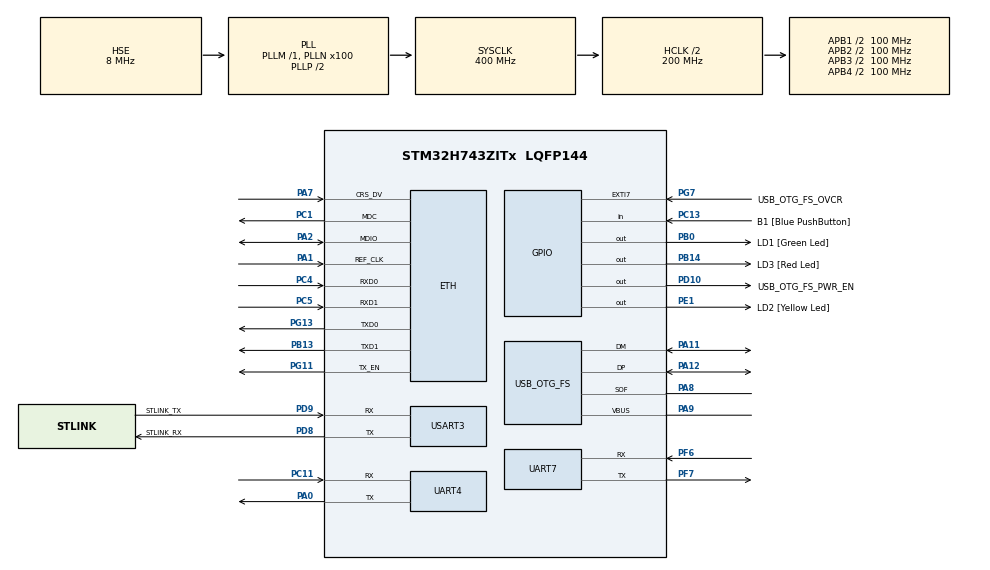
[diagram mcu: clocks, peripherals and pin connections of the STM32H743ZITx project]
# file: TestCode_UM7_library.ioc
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Mcu.Family=STM32H7
USB_DEVICE.CLASS_NAME_FS=CDC
RCC.CortexFreq_Value=400000000
RCC.HPRE=RCC_HCLK_DIV2
PH0-OSC_IN\ (PH0).Signal=RCC_OSC_IN
PB14.GPIO_Label=LD3 [Red Led]
PC15-OSC32_OUT\ (OSC32_OUT).Mode=LSE-External-Oscillator
RCC.PLLFRACN=0
PA11.Mode=Device_Only
PB0.GPIO_Label=LD1 [Green Led]
USB_DEVICE.VirtualMode-CDC_FS=Cdc
VP_SYS_VS_tim16.Mode=TIM16
RCC.PLL2FRACN=0
PC5.Mode=RMII
PC13.GPIO_Label=B1 [Blue PushButton]
PB13.Signal=ETH_TXD1
PG13.Signal=ETH_TXD0
PD9.Mode=Asynchronous
PG11.Signal=ETH_TX_EN
RCC.SYSCLKSource=RCC_SYSCLKSOURCE_PLLCLK
ProjectManager.StackSize=0x400
USART3.VirtualMode-Asynchronous=VM_ASYNC
PA12.Signal=USB_OTG_FS_DP
PF7.Signal=UART7_TX
RCC.HCLKFreq_Value=200000000
PD8.Signal=USART3_TX
PE1.Signal=GPIO_Output
RCC.HSE_VALUE=8000000
RCC.DIVM3=1
RCC.DIVM1=1
PA0.Mode=Asynchronous
PA8.Signal=USB_OTG_FS_SOF
PG13.Mode=RMII
VP_FREERTOS_VS_CMSIS_V1.Mode=CMSIS_V1
PA0.Signal=UART4_TX
RCC.APB3Freq_Value=100000000
Mcu.Package=LQFP144
NVIC.TimeBase=TIM16_IRQn
RCC.PLL3FRACN=0
RCC.D1PPRE=RCC_APB3_DIV2
NVIC.OTG_FS_IRQn=true\:0\:0\:false\:false\:true\:false\:false\:true
NVIC.TimeBaseIP=TIM16
USB_OTG_FS.VirtualMode=Device_Only
PC11.Mode=Asynchronous
PC14-OSC32_IN\ (OSC32_IN).Mode=LSE-External-Oscillator
RCC.APB4Freq_Value=100000000
PC5.Signal=ETH_RXD1
PB13.Mode=RMII
PH0-OSC_IN\ (PH0).Mode=HSE-External-Clock-Source
PC4.Mode=RMII
RCC.DIVQ3=4
RCC.DIVQ2=5
RCC.DIVQ1=4
FREERTOS.Tasks01=defaultTask,0,128,StartDefaultTask,Default,NULL,Dynamic,NULL,NULL
PA7.Mode=RMII
PG7.Signal=GPXTI7
PD9.GPIO_Label=STLINK_TX
USB_DEVICE.VirtualModeFS=Cdc_FS
PC13.Signal=GPIO_Input
PC11.Signal=UART4_RX
FREERTOS.INCLUDE_vTaskDelayUntil=1
PC4.Signal=ETH_RXD0
RCC.D2PPRE2=RCC_APB2_DIV2
RCC.D2PPRE1=RCC_APB1_DIV2
PD9.Signal=USART3_RX
NVIC.TIM16_IRQn=true\:0\:0\:false\:false\:true\:false\:false\:true
PH1-OSC_OUT\ (PH1).Signal=RCC_OSC_OUT
PD8.GPIO_Label=STLINK_RX
PD10.Signal=GPIO_Output
PF7.Mode=Asynchronous
PA9.Mode=Activate_VBUS
PF6.Signal=UART7_RX
ProjectManager.TargetToolchain=SW4STM32
PC15-OSC32_OUT\ (OSC32_OUT).Signal=RCC_OSC32_OUT
VP_USB_DEVICE_VS_USB_DEVICE_CDC_FS.Mode=CDC_FS
PA9.Signal=USB_OTG_FS_VBUS
RCC.DIVN3=24
RCC.DIVN2=50
RCC.DIVN1=100
RCC.USBFreq_Value=48000000
PD10.GPIO_Label=USB_OTG_FS_PWR_EN
PD8.Mode=Asynchronous
PA1.Signal=ETH_REF_CLK
PB14.Signal=GPIO_Output
RCC.USBCLockSelection=RCC_USBCLKSOURCE_PLL3
board=NUCLEO-H743ZI2
PE1.GPIO_Label=LD2 [Yellow Led]
RCC.APB2Freq_Value=100000000
PA1.Mode=RMII
PG7.GPIO_Label=USB_OTG_FS_OVCR
RCC.ADCFreq_Value=6250000
Mcu.Name=STM32H743ZITx
PA2.Signal=ETH_MDIO
RCC.SYSCLKFreq_VALUE=400000000
ETH.MediaInterface=HAL_ETH_RMII_MODE
PA12.Mode=Device_Only
PC14-OSC32_IN\ (OSC32_IN).Signal=RCC_OSC32_IN
PG11.Mode=RMII
PA11.Signal=USB_OTG_FS_DM
ProjectManager.HeapSize=0x200
PF6.Mode=Asynchronous
NVIC.PriorityGroup=NVIC_PRIORITYGROUP_4
PA2.Mode=RMII
RCC.D3PPRE=RCC_APB4_DIV2
PA8.Mode=Activate_SOF_FS
RCC.APB1Freq_Value=100000000
PB0.Signal=GPIO_Output
PC1.Signal=ETH_MDC
PC1.Mode=RMII
PA7.Signal=ETH_CRS_DV

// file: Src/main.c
/* USER CODE BEGIN Header */
/**
  ******************************************************************************
  * @file           : main.c
  * @brief          : Main program body
  ******************************************************************************
  * @attention
  *
  * <h2><center>&copy; Copyright (c) 2020 STMicroelectronics.
  * All rights reserved.</center></h2>
  *
  * This software component is licensed by ST under Ultimate Liberty license
  * SLA0044, the "License"; You may not use this file except in compliance with
  * the License. You may obtain a copy of the License at:
  *                             www.st.com/SLA0044
  *
  ******************************************************************************
  */
/* USER CODE END Header */
#include "main.h"
#include "string.h"
#include "cmsis_os.h"
#include "usb_device.h"

/* USER CODE BEGIN Includes */
#include "MainTask.h"
#include "MemoryManagement.h"
/* USER CODE END Includes */

#if defined ( __ICCARM__ ) /*!< IAR Compiler */

#pragma location=0x30040000
ETH_DMADescTypeDef  DMARxDscrTab[ETH_RX_DESC_CNT]; /* Ethernet Rx DMA Descriptors */
#pragma location=0x30040060
ETH_DMADescTypeDef  DMATxDscrTab[ETH_TX_DESC_CNT]; /* Ethernet Tx DMA Descriptors */
#pragma location=0x30040200
uint8_t Rx_Buff[ETH_RX_DESC_CNT][ETH_MAX_PACKET_SIZE]; /* Ethernet Receive Buffers */

#elif defined ( __CC_ARM )  /* MDK ARM Compiler */

__attribute__((at(0x30040000))) ETH_DMADescTypeDef  DMARxDscrTab[ETH_RX_DESC_CNT]; /* Ethernet Rx DMA Descriptors */
__attribute__((at(0x30040060))) ETH_DMADescTypeDef  DMATxDscrTab[ETH_TX_DESC_CNT]; /* Ethernet Tx DMA Descriptors */
__attribute__((at(0x30040200))) uint8_t Rx_Buff[ETH_RX_DESC_CNT][ETH_MAX_PACKET_SIZE]; /* Ethernet Receive Buffer */

#elif defined ( __GNUC__ ) /* GNU Compiler */

ETH_DMADescTypeDef DMARxDscrTab[ETH_RX_DESC_CNT] __attribute__((section(".RxDecripSection"))); /* Ethernet Rx DMA Descriptors */
ETH_DMADescTypeDef DMATxDscrTab[ETH_TX_DESC_CNT] __attribute__((section(".TxDecripSection")));   /* Ethernet Tx DMA Descriptors */
uint8_t Rx_Buff[ETH_RX_DESC_CNT][ETH_MAX_PACKET_SIZE] __attribute__((section(".RxArraySection"))); /* Ethernet Receive Buffers */

#endif

ETH_TxPacketConfig TxConfig;

ETH_HandleTypeDef heth;

UART_HandleTypeDef huart4;
UART_HandleTypeDef huart7;
UART_HandleTypeDef huart3;

osThreadId defaultTaskHandle;
/* USER CODE BEGIN PV */
TaskHandle_t mainTaskHandle;
osThreadId blink01Handle;
osThreadId blink02Handle;
/* USER CODE END PV */

void SystemClock_Config(void);
static void MX_GPIO_Init(void);
static void MX_ETH_Init(void);
static void MX_USART3_UART_Init(void);
static void MX_UART4_Init(void);
static void MX_UART7_Init(void);
void StartDefaultTask(void const * argument);

/* USER CODE BEGIN PFP */
void StartBlink01(void const * argument);
void StartBlink02(void const * argument);
/* USER CODE END PFP */

int main(void)
{
  /* USER CODE BEGIN 1 */
	/* MCU Configuration--------------------------------------------------------*/
	/* Enable the CPU Cache */
	CPU_CACHE_Enable();
	/* Configure the MPU attributes as Write Through for Flash Bank B sectors 6 and 7  (used for EEPROM emulation)*/
	MPU_Config();
  /* USER CODE END 1 */

  /* MCU Configuration--------------------------------------------------------*/

  /* Reset of all peripherals, Initializes the Flash interface and the Systick. */
  HAL_Init();
  /* Configure the system clock */
  SystemClock_Config();

  /* USER CODE BEGIN SysInit */
	/* ZeroInitFreeRTOSheap(); */
  /* USER CODE END SysInit */

  /* Initialize all configured peripherals */
  MX_GPIO_Init();
  MX_ETH_Init();
   MX_USART3_UART_Init();
  MX_UART4_Init();
  MX_UART7_Init();
  /* USER CODE BEGIN 2 */

  HAL_UART_Transmit(&huart3, (uint8_t*)"Z", sizeof("Z"), 50);
  HAL_UART_Transmit(&huart3, (uint8_t*)"Z", sizeof("Z"), 50);
  HAL_UART_Transmit(&huart3, (uint8_t*)"Z", sizeof("Z"), 50);
  HAL_UART_Transmit(&huart3, (uint8_t*)"Z", 1, 50);
  HAL_UART_Transmit(&huart3, (uint8_t*)"Z", sizeof("Z"), 50);
  HAL_UART_Transmit(&huart3, (uint8_t*)"Z", sizeof("Z"), 50);

  /* USER CODE END 2 */

  /* Create the thread(s) */
  /* definition and creation of defaultTask */
  // osThreadDef(defaultTask, StartDefaultTask, osPriorityNormal, 0, 128);
  // defaultTaskHandle = osThreadCreate(osThread(defaultTask), NULL);

  /* USER CODE BEGIN RTOS_THREADS */
  /* add threads, ... */
	/* definition and creation of blink01 */
//	osThreadDef(blink01, StartBlink01, osPriorityNormal, 0, 128);
//	blink01Handle = osThreadCreate(osThread(blink01), NULL);

	/* definition and creation of blink02 */
//	osThreadDef(blink02, StartBlink02, osPriorityBelowNormal, 0, 128);
//	blink02Handle = osThreadCreate(osThread(blink02), NULL);

  /* Create the main thread which creates objects and spawns the rest of the threads */
	xTaskCreate(MainTask, "mainTask", 1024, (void*) NULL, 0, &mainTaskHandle);
  /* USER CODE END RTOS_THREADS */

  /* Start scheduler */
  osKernelStart();

  /* We should never get here as control is now taken by the scheduler */
  /* Infinite loop */
  while (1)
  {

  }
}
void StartBlink01(void const * argument)
{
  /* USER CODE BEGIN 5 */
  /* Infinite loop */
  for(;;)
  {
  	HAL_GPIO_TogglePin(GPIOB, LD1_Pin);
    osDelay(500);
  }
  /* USER CODE END 5 */
}
void StartBlink02(void const * argument)
{
  /* USER CODE BEGIN StartBlink02 */
  /* Infinite loop */
  for(;;)
  {
  	HAL_GPIO_TogglePin(GPIOB, LD3_Pin);
    osDelay(200);
  }
  /* USER CODE END StartBlink02 */
}
void SystemClock_Config(void)
{
  RCC_OscInitTypeDef RCC_OscInitStruct = {0};
  RCC_ClkInitTypeDef RCC_ClkInitStruct = {0};
  RCC_PeriphCLKInitTypeDef PeriphClkInitStruct = {0};

  /** Supply configuration update enable
  */
  HAL_PWREx_ConfigSupply(PWR_LDO_SUPPLY);
  /** Configure the main internal regulator output voltage
  */
  __HAL_PWR_VOLTAGESCALING_CONFIG(PWR_REGULATOR_VOLTAGE_SCALE1);

  while(!__HAL_PWR_GET_FLAG(PWR_FLAG_VOSRDY)) {}
  /** Macro to configure the PLL clock source
  */
  __HAL_RCC_PLL_PLLSOURCE_CONFIG(RCC_PLLSOURCE_HSE);
  /** Initializes the RCC Oscillators according to the specified parameters
  * in the RCC_OscInitTypeDef structure.
  */
  RCC_OscInitStruct.OscillatorType = RCC_OSCILLATORTYPE_HSE;
  RCC_OscInitStruct.HSEState = RCC_HSE_BYPASS;
  RCC_OscInitStruct.PLL.PLLState = RCC_PLL_ON;
  RCC_OscInitStruct.PLL.PLLSource = RCC_PLLSOURCE_HSE;
  RCC_OscInitStruct.PLL.PLLM = 1;
  RCC_OscInitStruct.PLL.PLLN = 100;
  RCC_OscInitStruct.PLL.PLLP = 2;
  RCC_OscInitStruct.PLL.PLLQ = 4;
  RCC_OscInitStruct.PLL.PLLR = 2;
  RCC_OscInitStruct.PLL.PLLRGE = RCC_PLL1VCIRANGE_3;
  RCC_OscInitStruct.PLL.PLLVCOSEL = RCC_PLL1VCOWIDE;
  RCC_OscInitStruct.PLL.PLLFRACN = 0;
  if (HAL_RCC_OscConfig(&RCC_OscInitStruct) != HAL_OK)
  {
    Error_Handler();
  }
  /** Initializes the CPU, AHB and APB buses clocks
  */
  RCC_ClkInitStruct.ClockType = RCC_CLOCKTYPE_HCLK|RCC_CLOCKTYPE_SYSCLK
                              |RCC_CLOCKTYPE_PCLK1|RCC_CLOCKTYPE_PCLK2
                              |RCC_CLOCKTYPE_D3PCLK1|RCC_CLOCKTYPE_D1PCLK1;
  RCC_ClkInitStruct.SYSCLKSource = RCC_SYSCLKSOURCE_PLLCLK;
  RCC_ClkInitStruct.SYSCLKDivider = RCC_SYSCLK_DIV1;
  RCC_ClkInitStruct.AHBCLKDivider = RCC_HCLK_DIV2;
  RCC_ClkInitStruct.APB3CLKDivider = RCC_APB3_DIV2;
  RCC_ClkInitStruct.APB1CLKDivider = RCC_APB1_DIV2;
  RCC_ClkInitStruct.APB2CLKDivider = RCC_APB2_DIV2;
  RCC_ClkInitStruct.APB4CLKDivider = RCC_APB4_DIV2;

  if (HAL_RCC_ClockConfig(&RCC_ClkInitStruct, FLASH_LATENCY_2) != HAL_OK)
  {
    Error_Handler();
  }
  PeriphClkInitStruct.PeriphClockSelection = RCC_PERIPHCLK_USART3|RCC_PERIPHCLK_UART4
                              |RCC_PERIPHCLK_UART7|RCC_PERIPHCLK_USB;
  PeriphClkInitStruct.PLL3.PLL3M = 1;
  PeriphClkInitStruct.PLL3.PLL3N = 24;
  PeriphClkInitStruct.PLL3.PLL3P = 2;
  PeriphClkInitStruct.PLL3.PLL3Q = 4;
  PeriphClkInitStruct.PLL3.PLL3R = 2;
  PeriphClkInitStruct.PLL3.PLL3RGE = RCC_PLL3VCIRANGE_3;
  PeriphClkInitStruct.PLL3.PLL3VCOSEL = RCC_PLL3VCOWIDE;
  PeriphClkInitStruct.PLL3.PLL3FRACN = 0;
  PeriphClkInitStruct.Usart234578ClockSelection = RCC_USART234578CLKSOURCE_D2PCLK1;
  PeriphClkInitStruct.UsbClockSelection = RCC_USBCLKSOURCE_PLL3;
  if (HAL_RCCEx_PeriphCLKConfig(&PeriphClkInitStruct) != HAL_OK)
  {
    Error_Handler();
  }
  /** Enable USB Voltage detector
  */
  HAL_PWREx_EnableUSBVoltageDetector();
}

static void MX_ETH_Init(void)
{

  heth.Instance = ETH;
  heth.Init.MACAddr[0] =   0x00;
  heth.Init.MACAddr[1] =   0x80;
  heth.Init.MACAddr[2] =   0xE1;
  heth.Init.MACAddr[3] =   0x00;
  heth.Init.MACAddr[4] =   0x00;
  heth.Init.MACAddr[5] =   0x00;
  heth.Init.MediaInterface = HAL_ETH_RMII_MODE;
  heth.Init.TxDesc = DMATxDscrTab;
  heth.Init.RxDesc = DMARxDscrTab;
  heth.Init.RxBuffLen = 1524;

  if (HAL_ETH_Init(&heth) != HAL_OK)
  {
    Error_Handler();
  }

  memset(&TxConfig, 0 , sizeof(ETH_TxPacketConfig));
  TxConfig.Attributes = ETH_TX_PACKETS_FEATURES_CSUM | ETH_TX_PACKETS_FEATURES_CRCPAD;
  TxConfig.ChecksumCtrl = ETH_CHECKSUM_IPHDR_PAYLOAD_INSERT_PHDR_CALC;
  TxConfig.CRCPadCtrl = ETH_CRC_PAD_INSERT;

}

static void MX_UART4_Init(void)
{

  huart4.Instance = UART4;
  huart4.Init.BaudRate = 460800; //15200
  huart4.Init.WordLength = UART_WORDLENGTH_8B;
  huart4.Init.StopBits = UART_STOPBITS_1;
  huart4.Init.Parity = UART_PARITY_NONE;
  huart4.Init.Mode = UART_MODE_TX_RX;
  huart4.Init.HwFlowCtl = UART_HWCONTROL_NONE;
  huart4.Init.OverSampling = UART_OVERSAMPLING_16;
  huart4.Init.OneBitSampling = UART_ONE_BIT_SAMPLE_DISABLE;
  huart4.Init.ClockPrescaler = UART_PRESCALER_DIV1;
  huart4.AdvancedInit.AdvFeatureInit = UART_ADVFEATURE_NO_INIT;
  if (HAL_UART_Init(&huart4) != HAL_OK)
  {
    Error_Handler();
  }
  if (HAL_UARTEx_SetTxFifoThreshold(&huart4, UART_TXFIFO_THRESHOLD_1_8) != HAL_OK)
  {
    Error_Handler();
  }
  if (HAL_UARTEx_SetRxFifoThreshold(&huart4, UART_RXFIFO_THRESHOLD_1_8) != HAL_OK)
  {
    Error_Handler();
  }
  if (HAL_UARTEx_DisableFifoMode(&huart4) != HAL_OK)
  {
    Error_Handler();
  }

}

static void MX_UART7_Init(void)
{

  huart7.Instance = UART7;
  huart7.Init.BaudRate = 115200;
  huart7.Init.WordLength = UART_WORDLENGTH_8B;
  huart7.Init.StopBits = UART_STOPBITS_1;
  huart7.Init.Parity = UART_PARITY_NONE;
  huart7.Init.Mode = UART_MODE_TX_RX;
  huart7.Init.HwFlowCtl = UART_HWCONTROL_NONE;
  huart7.Init.OverSampling = UART_OVERSAMPLING_16;
  huart7.Init.OneBitSampling = UART_ONE_BIT_SAMPLE_DISABLE;
  huart7.Init.ClockPrescaler = UART_PRESCALER_DIV1;
  huart7.AdvancedInit.AdvFeatureInit = UART_ADVFEATURE_NO_INIT;
  if (HAL_UART_Init(&huart7) != HAL_OK)
  {
    Error_Handler();
  }
  if (HAL_UARTEx_SetTxFifoThreshold(&huart7, UART_TXFIFO_THRESHOLD_1_8) != HAL_OK)
  {
    Error_Handler();
  }
  if (HAL_UARTEx_SetRxFifoThreshold(&huart7, UART_RXFIFO_THRESHOLD_1_8) != HAL_OK)
  {
    Error_Handler();
  }
  if (HAL_UARTEx_DisableFifoMode(&huart7) != HAL_OK)
  {
    Error_Handler();
  }

}

static void MX_USART3_UART_Init(void)
{

  huart3.Instance = USART3;
  huart3.Init.BaudRate = 460800;
  huart3.Init.WordLength = UART_WORDLENGTH_8B;
  huart3.Init.StopBits = UART_STOPBITS_1;
  huart3.Init.Parity = UART_PARITY_NONE;
  huart3.Init.Mode = UART_MODE_TX_RX;
  huart3.Init.HwFlowCtl = UART_HWCONTROL_NONE;
  huart3.Init.OverSampling = UART_OVERSAMPLING_16;
  huart3.Init.OneBitSampling = UART_ONE_BIT_SAMPLE_DISABLE;
  huart3.Init.ClockPrescaler = UART_PRESCALER_DIV1;
  huart3.AdvancedInit.AdvFeatureInit = UART_ADVFEATURE_NO_INIT;
  if (HAL_UART_Init(&huart3) != HAL_OK)
  {
    Error_Handler();
  }
  if (HAL_UARTEx_SetTxFifoThreshold(&huart3, UART_TXFIFO_THRESHOLD_1_8) != HAL_OK)
  {
    Error_Handler();
  }
  if (HAL_UARTEx_SetRxFifoThreshold(&huart3, UART_RXFIFO_THRESHOLD_1_8) != HAL_OK)
  {
    Error_Handler();
  }
  if (HAL_UARTEx_DisableFifoMode(&huart3) != HAL_OK)
  {
    Error_Handler();
  }
  /* USER CODE BEGIN USART3_Init 2 */
  HAL_UART_MspInit(&huart3);
  /* USER CODE END USART3_Init 2 */

}

static void MX_GPIO_Init(void)
{
  GPIO_InitTypeDef GPIO_InitStruct = {0};

  /* GPIO Ports Clock Enable */
  __HAL_RCC_GPIOC_CLK_ENABLE();
  __HAL_RCC_GPIOF_CLK_ENABLE();
  __HAL_RCC_GPIOH_CLK_ENABLE();
  __HAL_RCC_GPIOA_CLK_ENABLE();
  __HAL_RCC_GPIOB_CLK_ENABLE();
  __HAL_RCC_GPIOD_CLK_ENABLE();
  __HAL_RCC_GPIOG_CLK_ENABLE();
  __HAL_RCC_GPIOE_CLK_ENABLE();

  /*Configure GPIO pin Output Level */
  HAL_GPIO_WritePin(GPIOB, LD1_Pin|LD3_Pin, GPIO_PIN_RESET);

  /*Configure GPIO pin Output Level */
  HAL_GPIO_WritePin(USB_OTG_FS_PWR_EN_GPIO_Port, USB_OTG_FS_PWR_EN_Pin, GPIO_PIN_RESET);

  /*Configure GPIO pin Output Level */
  HAL_GPIO_WritePin(LD2_GPIO_Port, LD2_Pin, GPIO_PIN_RESET);

  /*Configure GPIO pin : B1_Pin */
  GPIO_InitStruct.Pin = B1_Pin;
  GPIO_InitStruct.Mode = GPIO_MODE_INPUT;
  GPIO_InitStruct.Pull = GPIO_NOPULL;
  HAL_GPIO_Init(B1_GPIO_Port, &GPIO_InitStruct);

  /*Configure GPIO pins : LD1_Pin LD3_Pin */
  GPIO_InitStruct.Pin = LD1_Pin|LD3_Pin;
  GPIO_InitStruct.Mode = GPIO_MODE_OUTPUT_PP;
  GPIO_InitStruct.Pull = GPIO_NOPULL;
  GPIO_InitStruct.Speed = GPIO_SPEED_FREQ_LOW;
  HAL_GPIO_Init(GPIOB, &GPIO_InitStruct);

  /*Configure GPIO pin : USB_OTG_FS_PWR_EN_Pin */
  GPIO_InitStruct.Pin = USB_OTG_FS_PWR_EN_Pin;
  GPIO_InitStruct.Mode = GPIO_MODE_OUTPUT_PP;
  GPIO_InitStruct.Pull = GPIO_NOPULL;
  GPIO_InitStruct.Speed = GPIO_SPEED_FREQ_LOW;
  HAL_GPIO_Init(USB_OTG_FS_PWR_EN_GPIO_Port, &GPIO_InitStruct);

  /*Configure GPIO pin : USB_OTG_FS_OVCR_Pin */
  GPIO_InitStruct.Pin = USB_OTG_FS_OVCR_Pin;
  GPIO_InitStruct.Mode = GPIO_MODE_IT_RISING;
  GPIO_InitStruct.Pull = GPIO_NOPULL;
  HAL_GPIO_Init(USB_OTG_FS_OVCR_GPIO_Port, &GPIO_InitStruct);

  /*Configure GPIO pin : LD2_Pin */
  GPIO_InitStruct.Pin = LD2_Pin;
  GPIO_InitStruct.Mode = GPIO_MODE_OUTPUT_PP;
  GPIO_InitStruct.Pull = GPIO_NOPULL;
  GPIO_InitStruct.Speed = GPIO_SPEED_FREQ_LOW;
  HAL_GPIO_Init(LD2_GPIO_Port, &GPIO_InitStruct);

}

void StartDefaultTask(void const * argument)
{
  /* init code for USB_DEVICE */
  MX_USB_DEVICE_Init();
  for(;;)
  {
    osDelay(1);
  }
}

void HAL_TIM_PeriodElapsedCallback(TIM_HandleTypeDef *htim)
{
  if (htim->Instance == TIM16) {
    HAL_IncTick();
  }
}

//void Error_Handler(void)
//{
//  /* USER CODE BEGIN Error_Handler_Debug */
//  /* User can add his own implementation to report the HAL error return state */
//
//  /* USER CODE END Error_Handler_Debug */
//}

/************************ (C) COPYRIGHT STMicroelectronics *****END OF FILE****/
